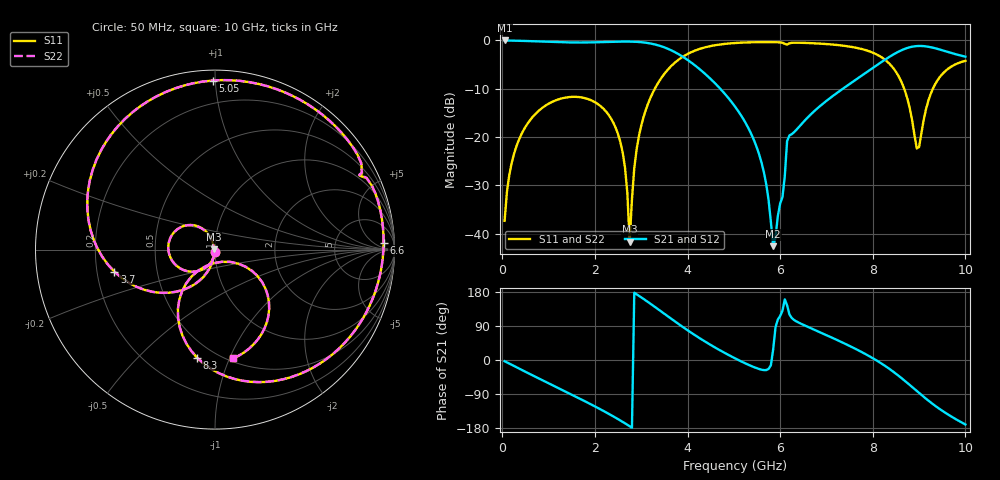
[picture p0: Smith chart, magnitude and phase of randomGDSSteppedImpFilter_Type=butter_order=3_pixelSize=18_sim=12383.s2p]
! freq	dB(S11)	phase(S11)	dB(S12)	phase(S12)
!  dB(S21)	phase(S21)	dB(S22)	phase(S22)
!S-par simulation data
#  GHz  S  DB  R 50
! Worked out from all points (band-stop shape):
!   200 points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, 50 MHz to 10 GHz, reference 50 ohm
!   highest |S21| = -0.01 dB at 50 MHz (marker M1); lowest = -42.6 dB at 5.85 GHz (marker M2)
!   |S21| within 3 dB of the highest: start of sweep to 3.835 GHz; 8.427 GHz to 9.848 GHz (1.421 GHz wide, 15.5 % of centre)
!   lowest |S11| = -41.7 dB at 2.75 GHz (marker M3), VSWR 1.02, Z = 49.2 + j0.0997 ohm
!   |S11| at or under -10 dB: start of sweep to 3.294 GHz; 8.677 GHz to 9.298 GHz (620.5 MHz wide, 6.9 % of centre)
!   |S22| runs from -40.4 to -0.3 dB; largest |S21 - S12| = 0
!   S11 on the Smith chart (normalised r, x): 50 MHz: 1.00, -0.03; 3.7 GHz: 0.27, -0.10; 5.05 GHz: 0.06, +0.98; 6.6 GHz: 23, +15; 8.3 GHz: 0.40, -0.77; 10 GHz: 0.53, -1.03
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0.05  -37.35 -92.4  -0.01 -3.2  -0.01 -3.2  -37.35 -92.4
0.5  -17.90 -121.5  -0.12 -31.1  -0.12 -31.1  -17.90 -121.5
1.75  -11.88 162.7  -0.43 -106.8  -0.43 -106.8  -11.87 163.0
2.5  -19.43 115.3  -0.26 -156.1  -0.26 -156.1  -19.42 116.2
2.65  -26.33 108.0  -0.24 -167.1  -0.24 -167.1  -26.29 109.9
2.75  -41.67 172.9  -0.24 -174.7  -0.24 -174.7  -40.45 172.8
2.95  -19.81 -105.2  -0.33 169.5  -0.33 169.5  -19.80 -106.0
3.4  -8.27 -141.4  -1.11 130.9  -1.11 130.9  -8.26 -141.5
3.7  -4.83 -167.6  -2.29 104.3  -2.29 104.3  -4.83 -167.6
4.3  -1.64 143.0  -6.26 54.6  -6.26 54.6  -1.64 143.1
5.05  -0.52 90.8  -14.02 2.9  -14.02 2.9  -0.52 91.1
5.6  -0.35 57.3  -25.38 -25.6  -25.38 -25.6  -0.35 57.5
5.85  -0.36 42.6  -42.60 28.6  -42.60 28.6  -0.36 42.9
6.15  -0.88 27.2  -20.84 144.3  -20.84 144.3  -0.87 27.4
6.6  -0.54 2.3  -15.90 87.3  -15.90 87.3  -0.53 2.5
6.7  -0.58 -3.2  -14.97 81.9  -14.97 81.9  -0.58 -3.0
7.65  -1.54 -56.0  -8.02 28.0  -8.02 28.0  -1.54 -55.9
8.3  -4.29 -99.4  -3.76 -18.4  -3.76 -18.4  -4.29 -99.4
8.35  -4.73 -103.2  -3.46 -22.6  -3.46 -22.6  -4.73 -103.1
8.95  -22.36 -94.6  -1.17 -81.8  -1.17 -81.8  -22.44 -94.6
9.35  -9.01 -37.6  -1.63 -121.1  -1.63 -121.1  -9.01 -37.5
10  -4.23 -80.3  -3.36 -170.2  -3.36 -170.2  -4.23 -80.4
